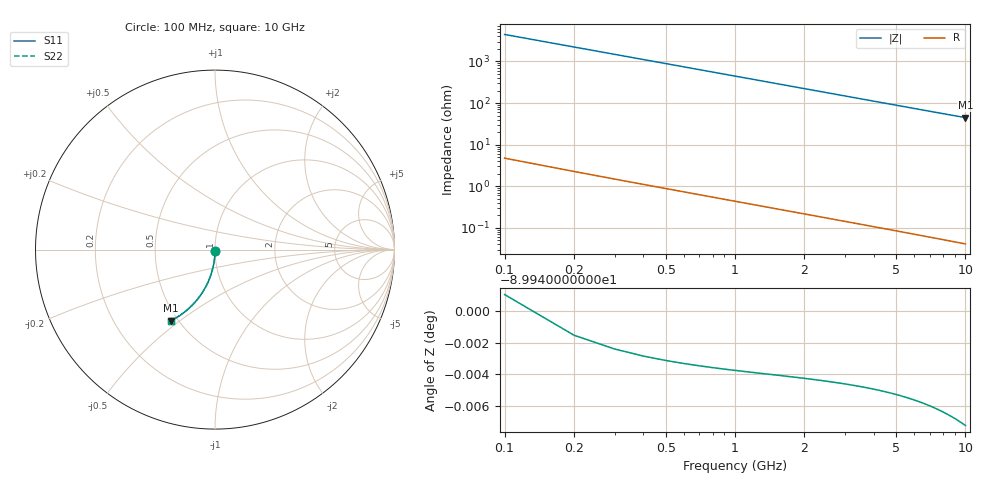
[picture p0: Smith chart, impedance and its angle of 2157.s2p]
# Hz S RI R 50.00
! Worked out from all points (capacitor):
!   100 points, 100 MHz to 10 GHz, reference 50 ohm
!   read as one part in shunt: C = 358 fF near 100 MHz
!   lowest |Z| = 44.6 ohm at 10 GHz (marker M1)
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1e8  6.62e-05 -0.00528  0.9999 -0.00597  0.9999 -0.00597  6.62e-05 -0.00528
2e8  -3.32e-05 -0.0106  0.9998 -0.0119  0.9998 -0.0119  -3.32e-05 -0.0106
3e8  -0.000196 -0.0158  0.9996 -0.0179  0.9996 -0.0179  -0.000196 -0.0158
4e8  -0.000421 -0.0211  0.9994 -0.0239  0.9994 -0.0239  -0.000421 -0.0211
5e8  -0.00071 -0.0264  0.9991 -0.0298  0.9991 -0.0298  -0.00071 -0.0264
6e8  -0.00106 -0.0317  0.9987 -0.0358  0.9987 -0.0358  -0.00106 -0.0317
7e8  -0.00148 -0.0369  0.9983 -0.0417  0.9983 -0.0417  -0.00148 -0.0369
8e8  -0.00195 -0.0422  0.9978 -0.0477  0.9978 -0.0477  -0.00195 -0.0422
9e8  -0.00249 -0.0474  0.9973 -0.0536  0.9973 -0.0536  -0.00249 -0.0474
1.1e9  -0.00376 -0.0579  0.996 -0.0655  0.996 -0.0655  -0.00376 -0.0579
1.4e9  -0.00612 -0.0735  0.9936 -0.0832  0.9936 -0.0832  -0.00612 -0.0735
1.8e9  -0.0101 -0.0941  0.9896 -0.1065  0.9896 -0.1065  -0.0101 -0.0941
2.1e9  -0.0138 -0.1094  0.9859 -0.1239  0.9859 -0.1239  -0.0138 -0.1094
2.5e9  -0.0194 -0.1295  0.9802 -0.1468  0.9802 -0.1468  -0.0194 -0.1295
2.9e9  -0.026 -0.1493  0.9736 -0.1693  0.9736 -0.1693  -0.026 -0.1493
3.4e9  -0.0354 -0.1733  0.9641 -0.1968  0.9641 -0.1968  -0.0354 -0.1733
4.2e9  -0.0532 -0.2101  0.9461 -0.2391  0.9461 -0.2391  -0.0532 -0.2101
5.1e9  -0.0767 -0.2486  0.9224 -0.284  0.9224 -0.284  -0.0767 -0.2486
5.9e9  -0.1003 -0.2801  0.8986 -0.3211  0.8986 -0.3211  -0.1003 -0.2801
6.7e9  -0.126 -0.3088  0.8727 -0.3554  0.8727 -0.3554  -0.126 -0.3088
8.4e9  -0.1856 -0.3597  0.8124 -0.4184  0.8124 -0.4184  -0.1856 -0.3597
1e10  -0.2452 -0.3954  0.7521 -0.4656  0.7521 -0.4656  -0.2452 -0.3954
